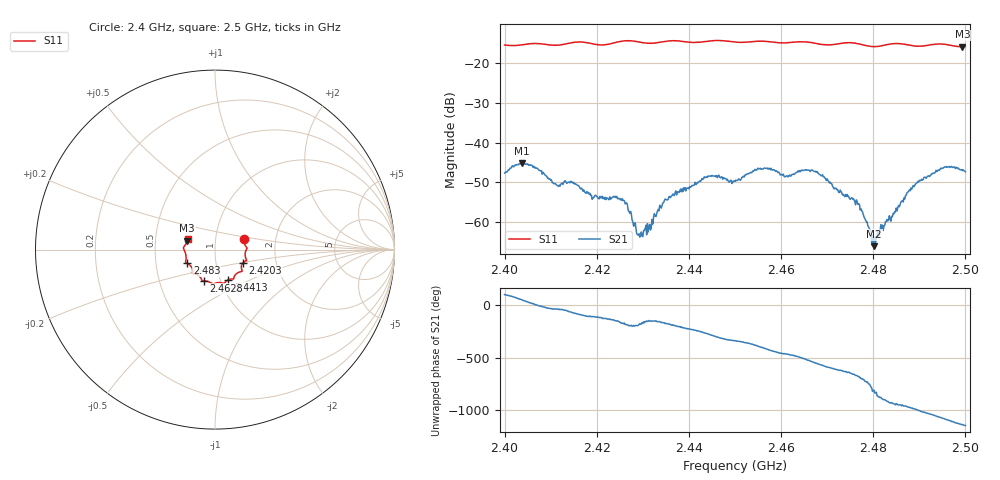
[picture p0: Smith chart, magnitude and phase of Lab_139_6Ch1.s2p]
# Hz S RI R 50
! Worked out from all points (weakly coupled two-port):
!   601 points, 2.4 GHz to 2.5 GHz, reference 50 ohm
!   highest |S21| = -45.16 dB at 2.4037 GHz (marker M1); lowest = -66.2 dB at 2.4802 GHz (marker M2)
!   lowest |S11| = -15.8 dB at 2.4993 GHz (marker M3), VSWR 1.39, Z = 36.5 + j3.72 ohm
!   |S11| at or under -10 dB: start of sweep to end of sweep
!   S12 and S22 are empty: the file has one direction only
!   S11 on the Smith chart (normalised r, x): 2.4 GHz: 1.37, +0.16; 2.4203 GHz: 1.35, -0.21; 2.4413 GHz: 1.09, -0.38; 2.4628 GHz: 0.83, -0.30; 2.483 GHz: 0.72, -0.11; 2.5 GHz: 0.73, +0.09
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2.4e9  0.1611 0.0572  -0.000565 0.00407  0 0  0 0
2.403667e9  0.1703 0.02  0.00362 0.00417  0 0  0 0
2.411167e9  0.1679 -0.0226  0.00234 -0.00182  0 0  0 0
2.416667e9  0.1759 -0.0615  -0.000271 -0.00264  0 0  0 0
2.420333e9  0.1551 -0.0741  -0.0009 -0.00175  0 0  0 0
2.426e9  0.1516 -0.1191  -0.00183 -0.00021  0 0  0 0
2.4295e9  0.137 -0.1246  -0.000655 2.95e-05  0 0  0 0
2.433333e9  0.108 -0.1485  -0.00133 -0.000509  0 0  0 0
2.441333e9  0.0745 -0.1682  -0.0016 0.0027  0 0  0 0
2.444667e9  0.0532 -0.1853  0.000948 0.00367  0 0  0 0
2.45e9  0.0291 -0.1839  0.00304 0.00107  0 0  0 0
2.455333e9  -0.00908 -0.1908  0.00376 -0.00277  0 0  0 0
2.462833e9  -0.063 -0.1746  -0.00196 -0.00343  0 0  0 0
2.466667e9  -0.0744 -0.1674  -0.0045 -0.000253  0 0  0 0
2.4765e9  -0.125 -0.1275  0.00115 0.00139  0 0  0 0
2.480167e9  -0.1325 -0.0947  2.06e-05 -0.000489  0 0  0 0
2.483e9  -0.1548 -0.0767  -0.00103 0.000263  0 0  0 0
2.483333e9  -0.157 -0.0755  -0.001 0.000355  0 0  0 0
2.49e9  -0.1625 -0.0287  0.000598 0.00328  0 0  0 0
2.4955e9  -0.174 0.0137  0.00492 -3.97e-05  0 0  0 0
2.499333e9  -0.1545 0.0497  0.00263 -0.00354  0 0  0 0
2.5e9  -0.1528 0.0585  0.002 -0.00378  0 0  0 0
